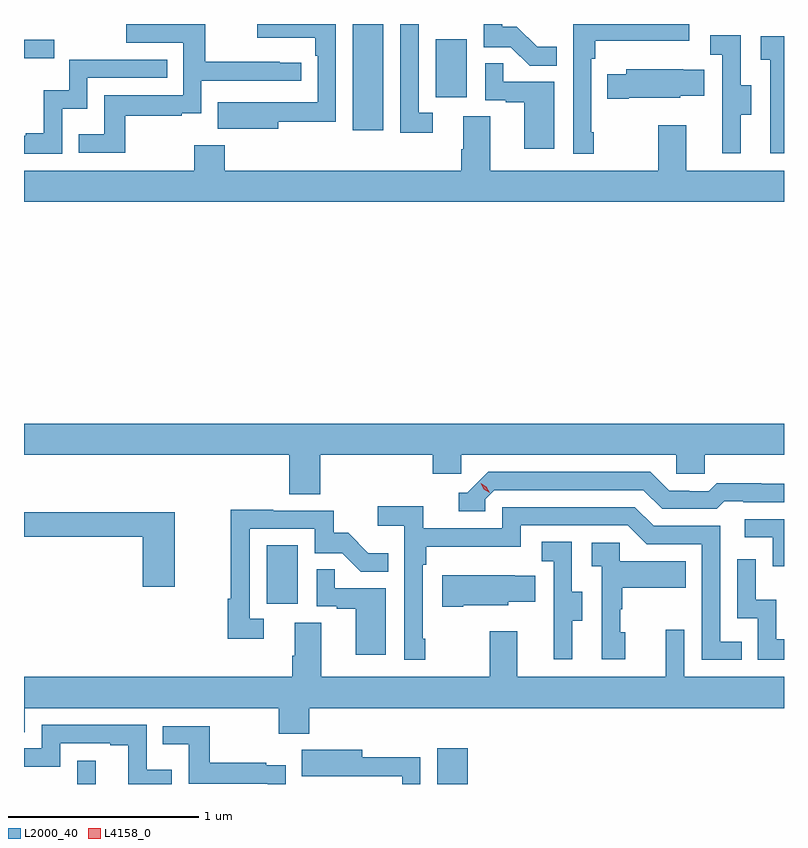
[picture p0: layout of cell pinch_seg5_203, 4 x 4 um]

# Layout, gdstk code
import gdstk
lib = gdstk.Library(unit=1e-6, precision=1e-09)
def R(c, l, rs):  # rectangles x0, y0, x1, y1
    for r in rs: c.add(gdstk.rectangle(r[:2], r[2:], *l))
def P(c, l, *ps):  # polygons
    for p in ps: c.add(gdstk.Polygon(p, *l))
L2000_40 = (2000, 40)
L4158_0 = (4158, 0)

pinch_seg5_203 = lib.new_cell('pinch_seg5_203')
R(pinch_seg5_203, L2000_40, [(951.312,909.64,951.409,909.763), (953.207,909.64,953.368,909.829), (952.31,910.59,952.474,910.897), (952.763,913.08,952.924,913.64), (953.198,913.254,953.362,913.561), (951.032,913.46,951.19,913.557)])
P(pinch_seg5_203, L2000_40, [(953.837,913.519),(953.733,913.519),(953.626,913.626),(953.55,913.626),(953.55,913.64),(953.451,913.64),(953.451,913.518),(953.595,913.518),(953.693,913.42),(953.837,913.42)],
  [(953.182,913.173),(953.109,913.173),(953.109,913.64),(953.013,913.64),(953.013,913.068),(953.182,913.068)],
  [(952.369,913.126),(952.674,913.126),(952.674,913.64),(952.26,913.64),(952.26,913.568),(952.565,913.568),(952.565,913.472),(952.578,913.472),(952.578,913.227),(952.265,913.227),(952.265,913.228),(952.051,913.228),(952.051,913.088),(952.369,913.088)],
  [(951.565,913.158),(951.863,913.158),(951.863,913.169),(951.966,913.169),(951.966,913.341),(952.492,913.341),(952.492,913.437),(952.379,913.437),(952.379,913.442),(951.986,913.442),(951.986,913.638),(951.709,913.638),(951.709,913.64),(951.569,913.64),(951.569,913.542),(951.87,913.542),(951.87,913.266),(951.454,913.266),(951.454,913.06),(951.319,913.06),(951.319,912.963),(951.565,912.963)],
  [(954.031,913.069),(954.018,913.069),(954.018,913.457),(954.038,913.457),(954.038,913.553),(954.534,913.553),(954.534,913.64),(953.922,913.64),(953.922,912.957),(954.031,912.957)],
  [(954.805,913.162),(954.859,913.162),(954.859,913.317),(954.804,913.317),(954.804,913.58),(954.645,913.58),(954.645,913.477),(954.708,913.477),(954.708,913.173),(954.707,913.173),(954.707,912.96),(954.805,912.96)],
  [(955.032,913.575),(954.909,913.575),(954.909,913.451),(954.96,913.451),(954.96,912.96),(955.032,912.96)],
  [(951.234,913.193),(951.366,913.193),(951.366,913.356),(951.785,913.356),(951.785,913.452),(951.27,913.452),(951.27,913.291),(951.137,913.291),(951.137,913.066),(951.041,913.066),(951.041,913.053),(951.032,913.053),(951.032,912.957),(951.234,912.957)],
  [(953.824,913.335),(953.555,913.335),(953.555,913.433),(953.46,913.433),(953.46,913.239),(953.567,913.239),(953.567,913.227),(953.666,913.227),(953.666,912.984),(953.824,912.984)],
  [(954.214,913.253),(954.486,913.253),(954.486,913.262),(954.611,913.262),(954.611,913.399),(954.503,913.399),(954.503,913.402),(954.201,913.402),(954.201,913.375),(954.103,913.375),(954.103,913.246),(954.214,913.246)],
  [(955.032,912.868),(954.517,912.868),(954.517,913.108),(954.37,913.108),(954.37,912.868),(953.485,912.868),(953.485,913.154),(953.345,913.154),(953.345,912.98),(953.333,912.98),(953.333,912.868),(952.088,912.868),(952.088,913.003),(951.928,913.003),(951.928,912.868),(951.032,912.868),(951.032,912.704),(955.032,912.704)],
  [(951.032,911.372),(952.427,911.372),(952.427,911.164),(952.592,911.164),(952.592,911.372),(953.183,911.372),(953.183,911.274),(953.334,911.274),(953.334,911.372),(954.465,911.372),(954.465,911.274),(954.615,911.274),(954.615,911.372),(955.032,911.372),(955.032,911.536),(951.032,911.536)],
  [(953.46,911.139),(953.508,911.187),(954.291,911.187),(954.39,911.088),(954.679,911.088),(954.718,911.127),(954.817,911.127),(954.817,911.124),(955.032,911.124),(955.032,911.221),(954.912,911.221),(954.912,911.224),(954.679,911.224),(954.637,911.181),(954.534,911.181),(954.534,911.184),(954.427,911.184),(954.328,911.283),(953.475,911.283),(953.364,911.172),(953.321,911.172),(953.321,911.076),(953.46,911.076)],
  [(953.143,910.405),(953.13,910.405),(953.13,910.793),(953.15,910.793),(953.15,910.889),(953.646,910.889),(953.646,911.001),(954.21,911.001),(954.309,910.902),(954.6,910.902),(954.6,910.293),(954.809,910.293),(954.809,910.389),(954.696,910.389),(954.696,910.998),(954.346,910.998),(954.247,911.097),(953.55,911.097),(953.55,910.986),(953.132,910.986),(953.132,911.102),(952.893,911.102),(952.893,911),(953.034,911),(953.034,910.293),(953.143,910.293)],
  [(952.294,910.509),(952.221,910.509),(952.221,910.983),(952.563,910.983),(952.563,910.854),(952.707,910.854),(952.805,910.756),(952.949,910.756),(952.949,910.855),(952.845,910.855),(952.738,910.962),(952.662,910.962),(952.662,911.079),(952.343,911.079),(952.343,911.084),(952.12,911.084),(952.12,910.616),(952.105,910.616),(952.105,910.404),(952.294,910.404)],
  [(951.826,911.071),(951.032,911.071),(951.032,910.942),(951.656,910.942),(951.656,910.677),(951.826,910.677)],
  [(955.032,911.034),(954.825,911.034),(954.825,910.938),(954.972,910.938),(954.972,910.785),(955.032,910.785)],
  [(953.917,910.498),(953.971,910.498),(953.971,910.653),(953.916,910.653),(953.916,910.916),(953.757,910.916),(953.757,910.813),(953.82,910.813),(953.82,910.509),(953.819,910.509),(953.819,910.296),(953.917,910.296)],
  [(954.196,910.44),(954.171,910.44),(954.171,910.559),(954.181,910.559),(954.181,910.673),(954.515,910.673),(954.515,910.813),(954.168,910.813),(954.168,910.911),(954.021,910.911),(954.021,910.787),(954.072,910.787),(954.072,910.296),(954.196,910.296)],
  [(955.032,910.402),(954.992,910.402),(954.992,910.61),(954.882,910.61),(954.882,910.822),(954.786,910.822),(954.786,910.512),(954.894,910.512),(954.894,910.293),(955.032,910.293)],
  [(952.936,910.671),(952.667,910.671),(952.667,910.769),(952.572,910.769),(952.572,910.575),(952.679,910.575),(952.679,910.563),(952.778,910.563),(952.778,910.32),(952.936,910.32)],
  [(953.344,910.58),(953.58,910.58),(953.58,910.598),(953.723,910.598),(953.723,910.735),(953.615,910.735),(953.615,910.738),(953.232,910.738),(953.232,910.573),(953.344,910.573)],
  [(952.532,910.04),(955.032,910.04),(955.032,910.204),(954.507,910.204),(954.507,910.453),(954.41,910.453),(954.41,910.204),(953.629,910.204),(953.629,910.444),(953.482,910.444),(953.482,910.204),(952.597,910.204),(952.597,910.49),(952.457,910.49),(952.457,910.316),(952.445,910.316),(952.445,910.204),(951.032,910.204),(951.032,909.913),(951.036,909.913),(951.036,910.04),(952.372,910.04),(952.372,909.905),(952.532,909.905)],
  [(951.81,909.715),(951.678,909.715),(951.678,909.951),(951.126,909.951),(951.126,909.828),(951.032,909.828),(951.032,909.732),(951.222,909.732),(951.222,909.855),(951.485,909.855),(951.485,909.843),(951.581,909.843),(951.581,909.64),(951.81,909.64)],
  [(952.41,909.739),(952.307,909.739),(952.307,909.751),(952.009,909.751),(952.009,909.945),(951.763,909.945),(951.763,909.848),(951.898,909.848),(951.898,909.642),(952.314,909.642),(952.314,909.64),(952.41,909.64)],
  [(953.118,909.782),(952.813,909.782),(952.813,909.82),(952.495,909.82),(952.495,909.68),(952.709,909.68),(952.709,909.681),(953.022,909.681),(953.022,909.64),(953.118,909.64)])
P(pinch_seg5_203, L4158_0, [(953.482,911.172),(953.451,911.191),(953.435,911.224),(953.435,911.224),(953.436,911.224),(953.466,911.204),(953.482,911.172),(953.482,911.172)])

lib.write_gds('pinch_seg5_203.gds')
